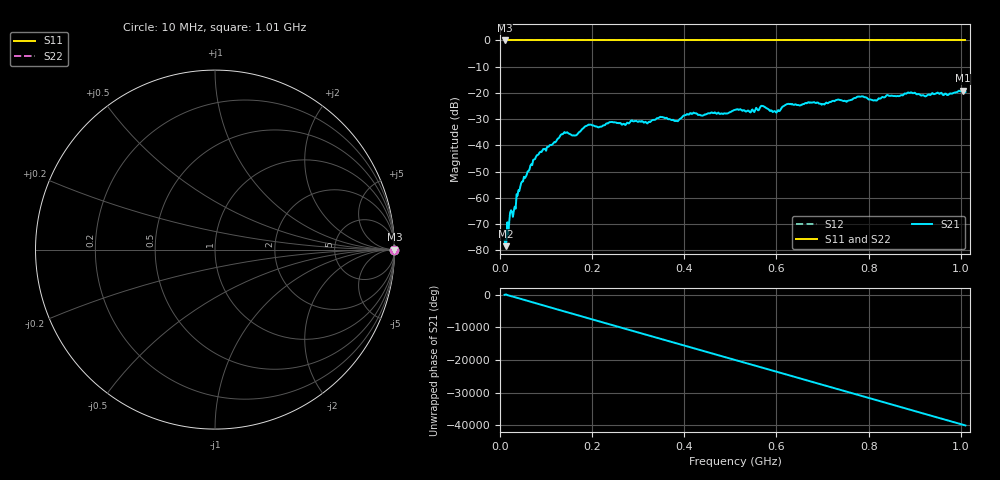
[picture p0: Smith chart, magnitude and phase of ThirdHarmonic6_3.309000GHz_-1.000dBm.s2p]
! 8/17/2025 10:20:21 AM
! C:\ANRITSUVNA\TEMP\TEMP.S2P
! CHANNEL.1
! TR.MEASUREMENT
! RAW.DATA
! RF.CORRECTION.OFF
! AVERAGING.OFF
! IF.BANDWIDTH: 5KHZ
! SWEEPTYPE:  FREQ.SWEEP(Linear)
! Reference Plane Port Info
! PORT:  PORT1  PORT2
! DISTANCE:  0  m  0  m
! TIME:  0  s  0  s
! PHASE.OFFSET:  0  deg.  0  deg.
! LOSS:  0  dB  0  dB
! REF.LOSS:  0  dB  0  dB
! REF.FREQ:  0  Hz  0  Hz
! Power Info
! POWER:  -20  dBm  -20  dBm
! EFF.POWER:  -20  dBm  -20  dBm
! SOURCE.ATTEN:  0  dB  0  dB
! TEST.ATTEN:  0  dB  0  dB
# GHZ S RI R 50.0
! FREQ.GHZ  S11RE  S11IM  S21RE  S21IM  S12RE  S12IM  S22RE  S22IM
!; PortSelection: Port_12
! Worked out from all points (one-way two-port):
!   501 points, 10 MHz to 1.01 GHz, reference 50 ohm
!   highest |S21| = -19.16 dB at 1.004 GHz (marker M1); lowest = -78.5 dB at 12 MHz (marker M2)
!   lowest |S11| = 0.0 dB at 10 MHz (marker M3)
!   |S11| at or under -10 dB: nowhere
!   |S22| runs from 0.0 to 0.0 dB; largest |S21 - S12| = 1.1
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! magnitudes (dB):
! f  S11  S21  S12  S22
! 10 MHz  0.0  -76.4  0.0  0.0
! 12 MHz  0.0  -78.5  0.0  0.0
! 16 MHz  0.0  -69.4  0.0  0.0
! 20 MHz  0.0  -69.2  0.0  0.0
! 30 MHz  0.0  -65.0  0.0  0.0
! 44 MHz  0.0  -55.8  0.0  0.0
! 76 MHz  0.0  -45.2  0.0  0.0
! 136 MHz  0.0  -35.8  0.0  0.0
! 162 MHz  0.0  -36.3  0.0  0.0
! 178 MHz  0.0  -33.9  0.0  0.0
! 344 MHz  0.0  -29.6  0.0  0.0
! 382 MHz  0.0  -30.7  0.0  0.0
! 416 MHz  0.0  -28.0  0.0  0.0
! 510 MHz  0.0  -26.5  0.0  0.0
! 570 MHz  0.0  -25.0  0.0  0.0
! 596 MHz  0.0  -26.9  0.0  0.0
! 624 MHz  0.0  -24.3  0.0  0.0
! 678 MHz  0.0  -23.7  0.0  0.0
! 814 MHz  0.0  -22.7  0.0  0.0
! 844 MHz  0.0  -21.1  0.0  0.0
! 1.004 GHz  0.0  -19.2  0.0  0.0
! 1.01 GHz  0.0  -19.7  0.0  0.0
